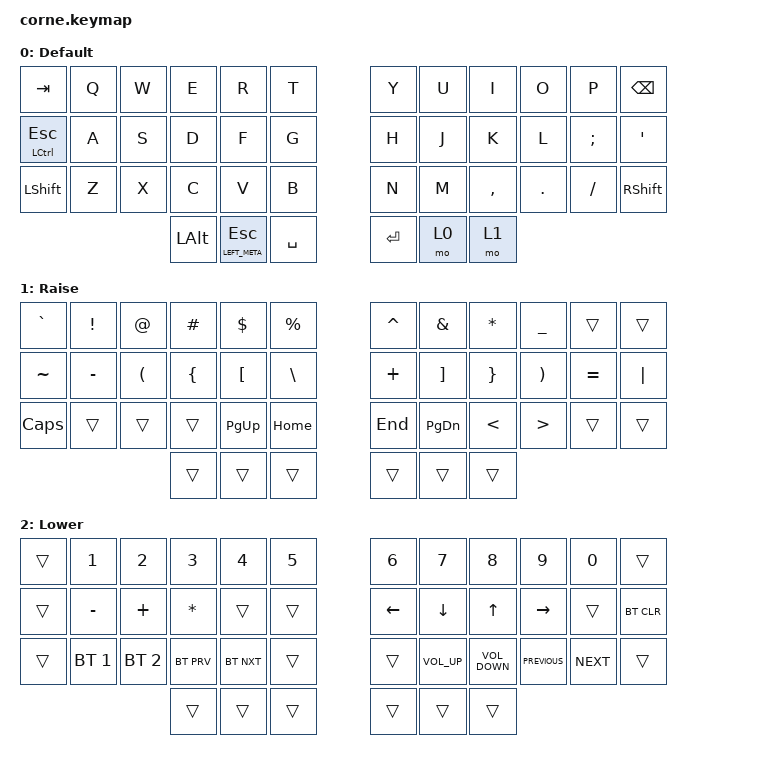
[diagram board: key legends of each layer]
/*
 * Copyright (c) 2020 The ZMK Contributors
 *
 * SPDX-License-Identifier: MIT
 */

#include <behaviors.dtsi>
#include <dt-bindings/zmk/bt.h>
#include <dt-bindings/zmk/keys.h>

#define DEFAULT 0
#define LOWER   1
#define RAISE   2
#define NAV     3
#define GAMING  4

/ {
    behaviors {
        tp: tap_preferred {
            compatible = "zmk,behavior-hold-tap";
            label = "TAP_PREFERRED";
            #binding-cells = <2>;
            tapping-term-ms = <180>;
            quick-tap-ms = <150>;
            global-quick-tap;
            flavor = "balanced";
            bindings = <&kp>, <&kp>;
        };

        hp: hold_preferred {
            compatible = "zmk,behavior-hold-tap";
            label = "HOLD_PREFERRED";
            #binding-cells = <2>;
            tapping-term-ms = <200>;
            quick-tap-ms = <0>;
            flavor = "hold-preferred";
            bindings = <&kp>, <&kp>;
        };
    };

    combos {
        compatible = "zmk,combos";

        TogGaming {
            bindings = <&tog 0>;
            key-positions = <16 19 15 20>;
        };
    };

    keymap {
        compatible = "zmk,keymap";

        Default {
            // -----------------------------------------------------------------------------------------
            // |    TAB   |  Q  |  W  |   E   |  R  |      T     |   |     Y      |  U   |  I  |  O  |  P  |   BKSP   |
            // | CTRL/ESC |  A  |  S  |   D   |  F  |      G     |   |     H      |  J   |  K  |  L  |  ;  |   ' |
            // |   SHFT   |  Z  |  X  |   C   |  V  |      B     |   |     N      |  M   |  ,  |  .  |  /  |   SHFT   |
            //                        | LOWER | LGUI |     SPC   |   |    NAV     | LALT / RET | RAISE |

            bindings = <
&kp TAB                  &kp Q  &kp W  &kp E         &kp R                 &kp T        &kp Y      &kp U  &kp I      &kp O    &kp P     &kp BSPC
&hp LEFT_CONTROL ESCAPE  &kp A  &kp S  &kp D         &kp F                 &kp G        &kp H      &kp J  &kp K      &kp L    &kp SEMI  &kp SQT
&kp LEFT_SHIFT           &kp Z  &kp X  &kp C         &kp V                 &kp B        &kp N      &kp M  &kp COMMA  &kp DOT  &kp FSLH  &kp RIGHT_SHIFT
                                       &kp LEFT_ALT  &tp LEFT_META ESCAPE  &kp SPACE    &kp ENTER  &mo 0  &mo 1
            >;
        };

        Raise {
            // -----------------------------------------------------------------------------------------
            // |   ~   | !  |  @  |  #  |  $  |    %     |            |    F6   |  F7  |  F8  |  F9  |  F10  | F11 |
            // |  CAPS | 1  |  2  |  3  |  4  |    5     |            |    6    |   7  |  8   |   9  |  0    |     |
            // | LSHFT |    |     |     |     | BLT_CLR  |            |         |      |      |      |       |
            //                    |     |     |          |            |         |      |      |

            bindings = <
&kp GRAVE     &kp EXCL   &kp AT                &kp HASH        &kp DLLR          &kp PRCNT        &kp CARET  &kp AMPERSAND      &kp ASTRK        &kp UNDERSCORE         &trans     &trans
&kp TILDE     &kp MINUS  &kp LEFT_PARENTHESIS  &kp LEFT_BRACE  &kp LEFT_BRACKET  &kp BACKSLASH    &kp PLUS   &kp RIGHT_BRACKET  &kp RIGHT_BRACE  &kp RIGHT_PARENTHESIS  &kp EQUAL  &kp PIPE
&kp CAPSLOCK  &trans     &trans                &trans          &kp PAGE_UP       &kp HOME         &kp END    &kp PAGE_DOWN      &kp LT           &kp GT                 &trans     &trans
                                               &trans          &trans            &trans           &trans     &trans             &trans
            >;
        };

        Lower {
            // -----------------------------------------------------------------------------------------
            // |       |    |  7  |  8  |  9  |          |            |      |      |      |      |       |     |
            // |       |    |  4  |  5  |  6  |          |            | LEFT | DOWN |  UP  | RIGHT|       |     |
            // | BLT_CLR |  |  1  |  2  |  3  |          |            |      |      |      |      |       |
            //                    |     |  0  |          |            |      |      |      |

            bindings = <
&trans  &kp NUMBER_1  &kp NUMBER_2  &kp NUMBER_3  &kp NUMBER_4  &kp N5    &kp NUMBER_6  &kp N7           &kp N8             &kp N9          &kp N0      &trans
&trans  &kp MINUS     &kp PLUS      &kp ASTRK     &trans        &trans    &kp LEFT      &kp DOWN         &kp UP_ARROW       &kp RIGHT       &trans      &bt BT_CLR
&trans  &bt BT_SEL 1  &bt BT_SEL 2  &bt BT_PRV    &bt BT_NXT    &trans    &trans        &kp C_VOLUME_UP  &kp C_VOLUME_DOWN  &kp C_PREVIOUS  &kp C_NEXT  &trans
                                    &trans        &trans        &trans    &trans        &trans           &trans
            >;
        };
    };
};
